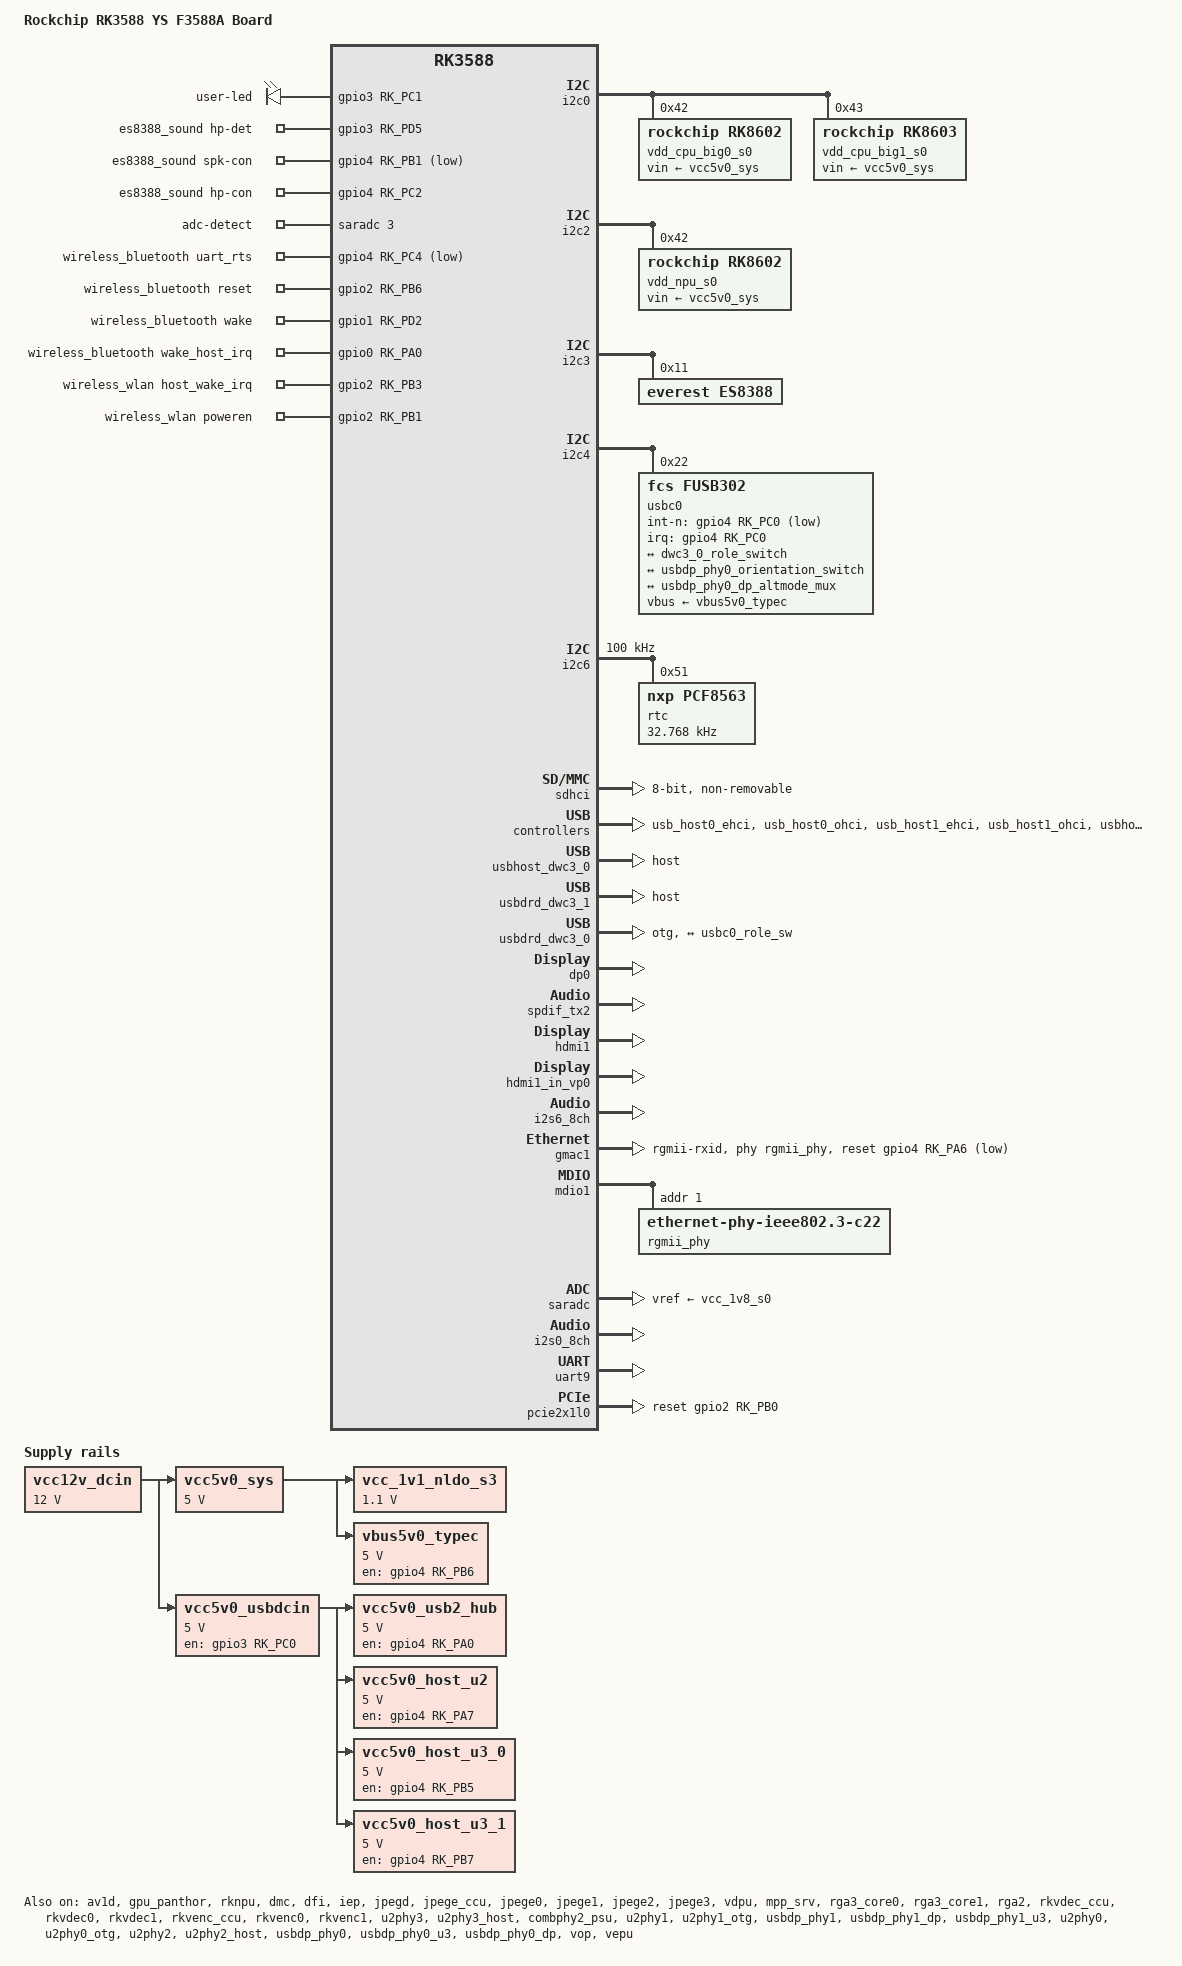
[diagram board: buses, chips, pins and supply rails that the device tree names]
/dts-v1/;

#include <dt-bindings/usb/pd.h>
#include <dt-bindings/gpio/gpio.h>
#include <dt-bindings/pwm/pwm.h>
#include <dt-bindings/pinctrl/rockchip.h>
#include <dt-bindings/input/rk-input.h>
#include <dt-bindings/display/drm_mipi_dsi.h>
#include <dt-bindings/display/rockchip_vop.h>
#include <dt-bindings/sensor-dev.h>
#include "rk3588.dtsi"
#include "rk3588-rk806-single.dtsi"
#include "rk3588-linux.dtsi"


/ {
	model = "Rockchip RK3588 YS F3588A Board";
	compatible = "rockchip,rk3588-ys-f3588a", "rockchip,rk3588";

    /delete-node/ chosen;

    vcc12v_dcin: vcc12v-dcin {
		compatible = "regulator-fixed";
		regulator-name = "vcc12v_dcin";
		regulator-always-on;
		regulator-boot-on;
		regulator-min-microvolt = <12000000>;
		regulator-max-microvolt = <12000000>;
	};

    vcc5v0_sys: vcc5v0-sys {
		compatible = "regulator-fixed";
		regulator-name = "vcc5v0_sys";
		regulator-always-on;
		regulator-boot-on;
		regulator-min-microvolt = <5000000>;
		regulator-max-microvolt = <5000000>;
		vin-supply = <&vcc12v_dcin>;
	};

    vcc_1v1_nldo_s3: vcc-1v1-nldo-s3 {
		compatible = "regulator-fixed";
		regulator-name = "vcc_1v1_nldo_s3";
		regulator-always-on;
		regulator-boot-on;
		regulator-min-microvolt = <1100000>;
		regulator-max-microvolt = <1100000>;
		vin-supply = <&vcc5v0_sys>;
	};

	vcc5v0_usbdcin: vcc5v0-usbdcin {
		compatible = "regulator-fixed";
		regulator-name = "vcc5v0_usbdcin";
		regulator-always-on;
		regulator-boot-on;
		regulator-min-microvolt = <5000000>;
		regulator-max-microvolt = <5000000>;
		enable-active-high;
		gpio = <&gpio3 RK_PC0 GPIO_ACTIVE_HIGH>;
		vin-supply = <&vcc12v_dcin>;
		pinctrl-names = "default";
		pinctrl-0 = <&vcc5v0_usbdcin_en>;
	};

	vcc5v0_usb2_hub: vcc5v0-usb {
		compatible = "regulator-fixed";
		regulator-name = "vcc5v0_usb2_hub";
		regulator-always-on;
		regulator-boot-on;
		regulator-min-microvolt = <5000000>;
		regulator-max-microvolt = <5000000>;
		enable-active-high;
		gpio = <&gpio4 RK_PA0 GPIO_ACTIVE_HIGH>;
		vin-supply = <&vcc5v0_usbdcin>;
		pinctrl-names = "default";
		pinctrl-0 = <&vcc5v0_usb2_hub_en>;
	};

	vcc5v0_host_u2: vcc5v0-host-u2 {
		compatible = "regulator-fixed";
		regulator-name = "vcc5v0_host_u2";
		regulator-always-on;
		regulator-boot-on;
		regulator-min-microvolt = <5000000>;
		regulator-max-microvolt = <5000000>;
		enable-active-high;
		gpio = <&gpio4 RK_PA7 GPIO_ACTIVE_HIGH>;
		vin-supply = <&vcc5v0_usbdcin>;
		pinctrl-names = "default";
		pinctrl-0 = <&vcc5v0_host_u2_en>;
	};

	vcc5v0_host_u3_0: vcc5v0-host-u3-0 {
		compatible = "regulator-fixed";
		regulator-name = "vcc5v0_host_u3_0";
		regulator-always-on;
		regulator-boot-on;
		regulator-min-microvolt = <5000000>;
		regulator-max-microvolt = <5000000>;
		enable-active-high;
		gpio = <&gpio4 RK_PB5 GPIO_ACTIVE_HIGH>;
		vin-supply = <&vcc5v0_usbdcin>;
		pinctrl-names = "default";
		pinctrl-0 = <&vcc5v0_host_u3_0_en>;
	};

	vcc5v0_host_u3_1: vcc5v0-host-u3-1 {
		compatible = "regulator-fixed";
		regulator-name = "vcc5v0_host_u3_1";
		regulator-always-on;
		regulator-boot-on;
		regulator-min-microvolt = <5000000>;
		regulator-max-microvolt = <5000000>;
		enable-active-high;
		gpio = <&gpio4 RK_PB7 GPIO_ACTIVE_HIGH>;
		vin-supply = <&vcc5v0_usbdcin>;
		pinctrl-names = "default";
		pinctrl-0 = <&vcc5v0_host_u3_1_en>;
	};

	vbus5v0_typec: vbus5v0-typec {
		compatible = "regulator-fixed";
		regulator-name = "vbus5v0_typec";
		regulator-min-microvolt = <5000000>;
		regulator-max-microvolt = <5000000>;
		enable-active-high;
		gpio = <&gpio4 RK_PB6 GPIO_ACTIVE_HIGH>;
		vin-supply = <&vcc5v0_sys>;
		pinctrl-names = "default";
		pinctrl-0 = <&vcc5v0_tpyec_en>;
	};

	gpio-leds {
		compatible = "gpio-leds";
		pinctrl-names = "default";

		user-led {
			gpios = <&gpio3 RK_PC1 GPIO_ACTIVE_HIGH>;
			linux,default-trigger = "heartbeat";
			default-state = "on";
		};
	};

	dp0_sound: dp0-sound {
		status = "okay";
		compatible = "rockchip,hdmi";
		rockchip,card-name = "rockchip-dp0";
		rockchip,mclk-fs = <512>;
		rockchip,cpu = <&spdif_tx2>;
		rockchip,codec = <&dp0 1>;
		rockchip,jack-det;
	};

	hdmi1_sound: hdmi1-sound {
		status = "okay";
		compatible = "rockchip,hdmi";
		rockchip,mclk-fs = <128>;
		rockchip,card-name = "rockchip-hdmi1";
		rockchip,cpu = <&i2s6_8ch>;
		rockchip,codec = <&hdmi1>;
		rockchip,jack-det;
	};

	es8388_sound: es8388-sound {
		status = "okay";
		compatible = "rockchip,multicodecs-card";
		rockchip,card-name = "rockchip-es8388";
		hp-det-gpio = <&gpio3 RK_PD5 GPIO_ACTIVE_HIGH>;
		io-channels = <&saradc 3>;
		io-channel-names = "adc-detect";
		keyup-threshold-microvolt = <1800000>;
		poll-interval = <100>;
		spk-con-gpio = <&gpio4 RK_PB1 GPIO_ACTIVE_LOW>;
		hp-con-gpio = <&gpio4 RK_PC2 GPIO_ACTIVE_HIGH>;
		rockchip,format = "i2s";
		rockchip,mclk-fs = <256>;
		rockchip,cpu = <&i2s0_8ch>;
		rockchip,codec = <&es8388>;
		rockchip,audio-routing =
			"Headphone", "LOUT1",
			"Headphone", "ROUT1",
			"Speaker", "LOUT2",
			"Speaker", "ROUT2",
			"Headphone", "Headphone Power",
			"Headphone", "Headphone Power",
			"Speaker", "Speaker Power", 
			"Speaker", "Speaker Power",
			"LINPUT1", "Main Mic",
			"LINPUT2", "Main Mic",
			"RINPUT1", "Headset Mic",
			"RINPUT2", "Headset Mic";
		pinctrl-names = "default";
		pinctrl-0 = <&hp_det>;
		play-pause-key {
			label = "playpause";
			linux,code = <KEY_PLAYPAUSE>;
			press-threshold-microvolt = <2000>;
		};
	};

	wireless_bluetooth: wireless-bluetooth {
		compatible = "bluetooth-platdata";
		clocks = <&rtc>;
		clock-names = "ext_clock";
		uart_rts_gpios = <&gpio4 RK_PC4 GPIO_ACTIVE_LOW>;
		pinctrl-names = "default", "rts_gpio";
		pinctrl-0 = <&uart9m0_rtsn>, 
					<&bt_reset_gpio>, 
					<&bt_wake_gpio>, 
					<&bt_irq_gpio>;
		pinctrl-1 = <&uart9_gpios>;
		BT,reset_gpio    = <&gpio2 RK_PB6 GPIO_ACTIVE_HIGH>;
		BT,wake_gpio     = <&gpio1 RK_PD2 GPIO_ACTIVE_HIGH>;
		BT,wake_host_irq = <&gpio0 RK_PA0 GPIO_ACTIVE_HIGH>;
		status = "okay";
	};

	wireless_wlan: wireless-wlan {
		compatible = "wlan-platdata";
		wifi_chip_type = "ap6275p";
		pinctrl-names = "default";
		pinctrl-0 = <&wifi_host_wake_irq>, <&wifi_poweren_gpio>;
		WIFI,host_wake_irq = <&gpio2 RK_PB3 GPIO_ACTIVE_HIGH>;
		WIFI,poweren_gpio = <&gpio2 RK_PB1 GPIO_ACTIVE_HIGH>;
		status = "okay";
	};
};

&av1d {
	status = "okay";
};

&av1d_mmu {
	status = "okay";
};

&cpu_l0 {
	cpu-supply = <&vdd_cpu_lit_s0>;
	mem-supply = <&vdd_cpu_lit_mem_s0>;
};

&cpu_b0 {
	cpu-supply = <&vdd_cpu_big0_s0>;
	mem-supply = <&vdd_cpu_big0_mem_s0>;
};

&cpu_b2 {
	cpu-supply = <&vdd_cpu_big1_s0>;
	mem-supply = <&vdd_cpu_big1_mem_s0>;
};

&gpu_panthor {
	mali-supply = <&vdd_gpu_s0>;
	mem-supply = <&vdd_gpu_mem_s0>;
	status = "okay";
};

&rknpu {
	rknpu-supply = <&vdd_npu_s0>;
	mem-supply = <&vdd_npu_mem_s0>;
	status = "okay";
};

&rknpu_mmu {
	status = "okay";
};

&i2c0 {
	status = "okay";
	pinctrl-names = "default";
	pinctrl-0 = <&i2c0m2_xfer>;

	vdd_cpu_big0_s0: vdd_cpu_big0_mem_s0: rk8602@42 {
		compatible = "rockchip,rk8602";
		reg = <0x42>;
		vin-supply = <&vcc5v0_sys>;
		regulator-compatible = "rk860x-reg";
		regulator-name = "vdd_cpu_big0_s0";
		regulator-min-microvolt = <550000>;
		regulator-max-microvolt = <1050000>;
		regulator-ramp-delay = <2300>;
		rockchip,suspend-voltage-selector = <1>;
		regulator-boot-on;
		regulator-always-on;
		regulator-state-mem {
			regulator-off-in-suspend;
		};
	};

	vdd_cpu_big1_s0: vdd_cpu_big1_mem_s0: rk8603@43 {
		compatible = "rockchip,rk8603";
		reg = <0x43>;
		vin-supply = <&vcc5v0_sys>;
		regulator-compatible = "rk860x-reg";
		regulator-name = "vdd_cpu_big1_s0";
		regulator-min-microvolt = <550000>;
		regulator-max-microvolt = <1050000>;
		regulator-ramp-delay = <2300>;
		rockchip,suspend-voltage-selector = <1>;
		regulator-boot-on;
		regulator-always-on;
		regulator-state-mem {
			regulator-off-in-suspend;
		};
	};
};

&i2c2 {
	status = "okay";

	vdd_npu_s0: vdd_npu_mem_s0: rk8602@42 {
		compatible = "rockchip,rk8602";
		reg = <0x42>;
		vin-supply = <&vcc5v0_sys>;
		regulator-compatible = "rk860x-reg";
		regulator-name = "vdd_npu_s0";
		regulator-min-microvolt = <550000>;
		regulator-max-microvolt = <950000>;
		regulator-ramp-delay = <2300>;
		rockchip,suspend-voltage-selector = <1>;
		regulator-boot-on;
		regulator-always-on;
		regulator-state-mem {
			regulator-off-in-suspend;
		};
	};
};

&i2c3 {
	status = "okay";

	es8388: es8388@11 {
		status = "okay";
		#sound-dai-cells = <0>;
		compatible = "everest,es8388", "everest,es8323";
		reg = <0x11>;
		clocks = <&mclkout_i2s0>;
		clock-names = "mclk";
		assigned-clocks = <&mclkout_i2s0>;
		assigned-clock-rates = <12288000>;
		pinctrl-names = "default";
		pinctrl-0 = <&i2s0_mclk>;
	};
};

&i2c4 {
	status = "okay";
	pinctrl-names = "default";
	pinctrl-0 = <&i2c4m1_xfer>;

	usbc0: fusb302@22 {
		compatible = "fcs,fusb302";
		reg = <0x22>;
		interrupt-parent = <&gpio4>;
		interrupts = <RK_PC0 IRQ_TYPE_LEVEL_LOW>;
		int-n-gpios = <&gpio4 RK_PC0 GPIO_ACTIVE_LOW>;
		pinctrl-names = "default";
		pinctrl-0 = <&usbc0_int>;
		vbus-supply = <&vbus5v0_typec>;
		status = "okay";

		ports {
			#address-cells = <1>;
			#size-cells = <0>;

			port@0 {
				reg = <0>;
				usbc0_role_sw: endpoint@0 {
					remote-endpoint = <&dwc3_0_role_switch>;
				};
			};
		};

		usb_con: connector {
			compatible = "usb-c-connector";
			label = "USB-C";
			data-role = "dual";
			power-role = "dual";
			try-power-role = "sink";
			op-sink-microwatt = <1000000>;
			sink-pdos = 
				<PDO_FIXED(5000, 1000, PDO_FIXED_USB_COMM)>;
			source-pdos =
				<PDO_FIXED(5000, 3000, PDO_FIXED_USB_COMM)>;

			altmodes {
				#address-cells = <1>;
				#size-cells = <0>;

				altmode@0 {
					reg = <0>;
					svid = <0xff01>;
					vdo = <0xffffffff>;
				};
			};

			ports {
				#address-cells = <1>;
				#size-cells = <0>;

				port@0 {
					reg = <0>;
					usbc0_orien_sw: endpoint {
						remote-endpoint = <&usbdp_phy0_orientation_switch>;
					};
				};

				port@1 {
					reg = <1>;
					dp_altmode_mux: endpoint {
						remote-endpoint = <&usbdp_phy0_dp_altmode_mux>;
					};
				};
			};
		};
	};
};

&i2c6 {
	status = "okay";
	clock-frequency = <100000>;
	i2c-scl-rising-time-ns = <600>;
	i2c-scl-falling-time-ns = <20>;

	rtc: rtc@51 {
		compatible = "nxp,pcf8563";
		reg = <0x51>;
		#clock-cells = <0>;
		clock-frequency = <0x8000>;
		clock-output-names = "rtc";
		status = "okay";
	};
};

&dmc {
	center-supply = <&vdd_ddr_s0>;
	mem-supply = <&vdd_log_s0>;
	status = "okay";
};

&dfi {
	status = "okay";
};

&iep {
	status = "okay";
};

&iep_mmu {
	status = "okay";
};

&jpegd {
	status = "okay";
};

&jpegd_mmu {
	status = "okay";
};

&jpege_ccu {
	status = "okay";
};

&jpege0 {
	status = "okay";
};

&jpege0_mmu {
	status = "okay";
};

&jpege1 {
	status = "okay";
};

&jpege1_mmu {
	status = "okay";
};

&jpege2 {
	status = "okay";
};

&jpege2_mmu {
	status = "okay";
};

&jpege3 {
	status = "okay";
};

&jpege3_mmu {
	status = "okay";
};

&vdpu {
	status = "okay";
};

&vdpu_mmu {
	status = "okay";
};

&mpp_srv {
	status = "okay";
};

&rga3_core0 {
	status = "okay";
};

&rga3_0_mmu {
	status = "okay";
};

&rga3_core1 {
	status = "okay";
};

&rga3_1_mmu {
	status = "okay";
};

&rga2 {
	status = "okay";
};

&rkvdec_ccu {
	status = "okay";
};

&rkvdec0 {
	status = "okay";
};

&rkvdec0_mmu {
	status = "okay";
};

&rkvdec1 {
	status = "okay";
};

&rkvdec1_mmu {
	status = "okay";
};

&rkvenc_ccu {
	status = "okay";
};

&rkvenc0 {
	status = "okay";
};

&rkvenc0_mmu {
	status = "okay";
};

&rkvenc1 {
	status = "okay";
};

&rkvenc1_mmu {
	status = "okay";
};

&sdhci {
	bus-width = <8>;
	no-sdio;
	no-sd;
	non-removable;
	max-frequency = <200000000>;
	mmc-hs400-1_8v;
	mmc-hs400-enhanced-strobe;
	full-pwr-cycle-in-suspend;
	status = "okay";
};

&u2phy3 {
	status = "okay";
};

&u2phy3_host {
	phy-supply = <&vcc5v0_host_u2>;
	status = "okay";
};

&usb_host0_ehci {
	status = "okay";
};

&usb_host0_ohci {
	status = "okay";
};

&usb_host1_ehci {
	status = "okay";
};

&usb_host1_ohci {
	status = "okay";
};

&combphy2_psu {
	status = "okay";
};

&usbhost3_0 {
	status = "okay";
};

&usbhost_dwc3_0 {
	dr_mode = "host";
	status = "okay";
};

&u2phy1 {
	status = "okay";
};

&u2phy1_otg {
	phy-supply = <&vcc5v0_host_u3_1>;
	status = "okay";
};

&usbdp_phy1 {
	status = "okay";
};

&usbdp_phy1_dp {
	status = "okay";
};

&usbdp_phy1_u3 {
	status = "okay";
};

&usbdrd3_1 {
	status = "okay";
};

&usbdrd_dwc3_1 {
	dr_mode = "host";
	status = "okay";
};

&u2phy0 {
	status = "okay";
};

&u2phy0_otg {
	rockchip,typec-vbus-det;
	status = "okay";
};

&u2phy2 {
	status = "okay";
};

&u2phy2_host {
	status = "okay";
};

&usbdrd3_0 {
	status = "okay";
};

&usbdrd_dwc3_0 {
	status = "okay";
	dr_mode = "otg";
	usb-role-switch;
	port {
		#address-cells = <1>;
		#size-cells = <0>;
		dwc3_0_role_switch: endpoint@0 {
			reg = <0>;
			remote-endpoint = <&usbc0_role_sw>;
		};
	};
};

&usbdp_phy0 {
	status = "okay";
	orientation-switch;
	svid = <0xff01>;
	sbu1-dc-gpios = <&gpio0 RK_PC6 GPIO_ACTIVE_HIGH>;
	sbu2-dc-gpios = <&gpio0 RK_PD3 GPIO_ACTIVE_HIGH>;

	port {
		#address-cells = <1>;
		#size-cells = <0>;
		usbdp_phy0_orientation_switch: endpoint@0 {
			reg = <0>;
			remote-endpoint = <&usbc0_orien_sw>;
		};

		usbdp_phy0_dp_altmode_mux: endpoint@1 {
			reg = <1>;
			remote-endpoint = <&dp_altmode_mux>;
		};
	};
};

&usbdp_phy0_u3 {
	status = "okay";
};

&usbdp_phy0_dp {
	status = "okay";
};

&vop {
	status = "okay";
};

&vop_mmu {
	status = "okay";
};

&vepu {
	status = "okay";
};

/* vp0 & vp1 splice for 8K output */
&vp0 {
	rockchip,plane-mask = <(1 << ROCKCHIP_VOP2_CLUSTER0 | 1 << ROCKCHIP_VOP2_ESMART0)>;
	rockchip,primary-plane = <ROCKCHIP_VOP2_CLUSTER0>;
	cursor-win-id = <ROCKCHIP_VOP2_ESMART0>;
};

&vp1 {
	rockchip,plane-mask = <(1 << ROCKCHIP_VOP2_CLUSTER1 | 1 << ROCKCHIP_VOP2_ESMART1)>;
	rockchip,primary-plane = <ROCKCHIP_VOP2_CLUSTER1>;
	cursor-win-id = <ROCKCHIP_VOP2_ESMART1>;
};

&vp2 {
	rockchip,plane-mask = <(1 << ROCKCHIP_VOP2_CLUSTER2 | 1 << ROCKCHIP_VOP2_ESMART2)>;
	rockchip,primary-plane = <ROCKCHIP_VOP2_CLUSTER2>;
	cursor-win-id = <ROCKCHIP_VOP2_ESMART2>;
};

&vp3 {
	rockchip,plane-mask = <(1 << ROCKCHIP_VOP2_CLUSTER3 | 1 << ROCKCHIP_VOP2_ESMART3)>;
	rockchip,primary-plane = <ROCKCHIP_VOP2_CLUSTER3>;
	cursor-win-id = <ROCKCHIP_VOP2_ESMART3>;
};

&dp0 {
	status = "okay";
};

&dp0_in_vp1 {
	status = "okay";
};

&route_dp0 {
	status = "okay";
};

&spdif_tx2 {
	status = "okay";
};

&hdmi1 {
	pinctrl-names = "default";
	pinctrl-0 = <&hdmim0_tx1_hpd &hdmim2_tx1_scl &hdmim2_tx1_sda>;
	enable-gpios = <&gpio3 RK_PD4 GPIO_ACTIVE_HIGH>;
	status = "okay";
};

&hdmi1_in_vp0 {
	status = "okay";
};

&hdmi1_sound {
	status = "okay";
};

&hdptxphy_hdmi1 {
	status = "okay";
};

&route_hdmi1 {
	connect = <&vp0_out_hdmi1>;
	status = "okay";
};

&i2s6_8ch {
	status = "okay";
};

&gmac1 {
	/* Use rgmii-rxid mode to disable rx delay inside Soc */
	phy-mode = "rgmii-rxid";
	clock_in_out = "output";

	snps,reset-gpio = <&gpio4 RK_PA6 GPIO_ACTIVE_LOW>;
	snps,reset-active-low;
	/* Reset time is 20ms, 100ms for rtl8211f */
	snps,reset-delays-us = <0 20000 100000>;

	pinctrl-names = "default";
	pinctrl-0 = <&gmac1_miim
		     &gmac1_tx_bus2
		     &gmac1_rx_bus2
		     &gmac1_rgmii_clk
		     &gmac1_rgmii_bus>;

	tx_delay = <0x43>;
	/* rx_delay = <0x3f>; */

	phy-handle = <&rgmii_phy>;
	status = "okay";
};

&mdio1 {
	rgmii_phy: phy@1 {
		compatible = "ethernet-phy-ieee802.3-c22";
		reg = <0x1>;
	};
};

&rockchip_suspend {
	compatible = "rockchip,pm-rk3588";
	status = "okay";
	rockchip,sleep-debug-en = <1>;
	rockchip,sleep-mode-config = <
		(0
		| RKPM_SLP_ARMOFF_DDRPD
		)
	>;
	rockchip,wakeup-config = <
		(0
		| RKPM_GPIO_WKUP_EN
		| RKPM_USB_WKUP_EN
		)
	>;
};

&saradc {
	status = "okay";
	vref-supply = <&vcc_1v8_s0>;
};

&i2s0_8ch {
    status = "okay";
    rockchip,clk-trcm = <1>;
    pinctrl-names = "default";
		pinctrl-0 = <&i2s0_lrck 
				&i2s0_sclk 
				&i2s0_sdi0 
				&i2s0_sdo0>;
};

&uart9 {
	pinctrl-names = "default";
	pinctrl-0 = <&uart9m0_xfer &uart9m0_ctsn>;
	status = "okay";
};

&rng {
	status = "okay";
};

&wdt {
	status = "okay";
};

&pcie2x1l0 {
	status = "okay";
	reset-gpios = <&gpio2 RK_PB0 GPIO_ACTIVE_HIGH>;
};

&combphy1_ps {
	status = "okay";
};

&pcie30phy {
	status = "okay";
	rockchip,pcie30-phymode = <4>;
};

&pinctrl {
	usb {
		vcc5v0_usbdcin_en: vcc5v0-usbdcin-en {
			rockchip,pins = <3 RK_PC0 RK_FUNC_GPIO &pcfg_pull_none>;
		};

		vcc5v0_host_u2_en: vcc5v0-host-u2-en {
			rockchip,pins = <4 RK_PA7 RK_FUNC_GPIO &pcfg_pull_none>;
		};

		vcc5v0_usb2_hub_en: vcc5v0-usb2-hub-en {
			rockchip,pins = <4 RK_PA0 RK_FUNC_GPIO &pcfg_pull_none>;
		};

		vcc5v0_host_u3_0_en: vcc5v0-host-u3-0-en {
			rockchip,pins = <4 RK_PB5 RK_FUNC_GPIO &pcfg_pull_none>;
		};
		
		vcc5v0_host_u3_1_en: vcc5v0-host-u3-1-en {
			rockchip,pins = <4 RK_PB7 RK_FUNC_GPIO &pcfg_pull_none>;
		};
	};

	usb-typec {
		usbc0_int: usbc0-int {
			rockchip,pins = <4 RK_PC0 RK_FUNC_GPIO &pcfg_pull_up>;
		};

		vcc5v0_tpyec_en: vcc5v0-tpyec-en {
			rockchip,pins = <4 RK_PB6 RK_FUNC_GPIO &pcfg_pull_up>;
		};
	};

	headphone {
		hp_det: hp-det {
			rockchip,pins = <3 RK_PD5 RK_FUNC_GPIO &pcfg_pull_none>,
							<4 RK_PD2 RK_FUNC_GPIO &pcfg_pull_none>;
		};
	};

	wireless-bluetooth {
			uart9_gpios: uart9-gpios {
				rockchip,pins = <4 RK_PC4 RK_FUNC_GPIO &pcfg_pull_none>;
			};

			bt_reset_gpio: bt-reset-gpio {
				rockchip,pins = <2 RK_PB6 RK_FUNC_GPIO &pcfg_pull_none>;
			};

			bt_wake_gpio: bt-wake-gpio {
				rockchip,pins = <1 RK_PD2 RK_FUNC_GPIO &pcfg_pull_none>;
			};

			bt_irq_gpio: bt-irq-gpio {
				rockchip,pins = <0 RK_PA0 RK_FUNC_GPIO &pcfg_pull_none>;
			};
		};

		wireless-wlan {
			wifi_host_wake_irq: wifi-host-wake-irq {
				rockchip,pins = <2 RK_PB3 RK_FUNC_GPIO &pcfg_pull_down>;
			};

			wifi_poweren_gpio: wifi-poweren-gpio {
				rockchip,pins = <2 RK_PB1 RK_FUNC_GPIO &pcfg_pull_up>;
			};
		};
};

&csi2_dphy0_hw {
	status = "disabled";
};

&csi2_dphy1_hw {
	status = "disabled";
};

&mipi0_csi2_hw {
	status = "disabled";
};

&mipi1_csi2_hw {
	status = "disabled";
};

&mipi2_csi2_hw {
	status = "disabled";
};

&mipi3_csi2_hw {
	status = "disabled";
};

&mipi4_csi2_hw {
	status = "disabled";
};

&mipi5_csi2_hw {
	status = "disabled";
};

&tsadc {
    status = "okay";
};
